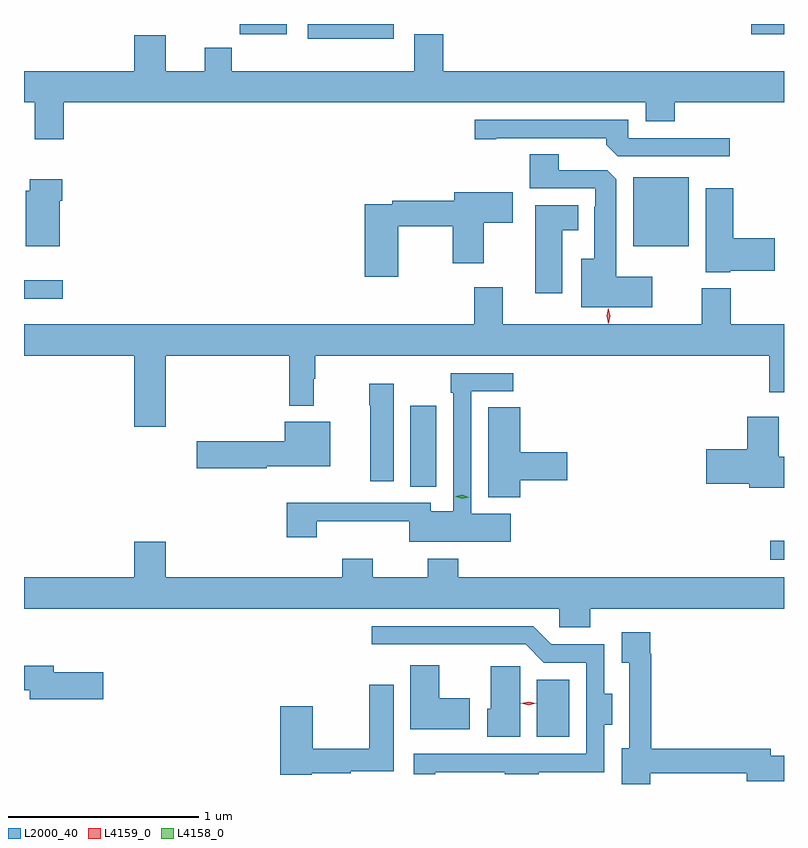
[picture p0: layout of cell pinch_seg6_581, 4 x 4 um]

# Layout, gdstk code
import gdstk
lib = gdstk.Library(unit=1e-6, precision=1e-09)
def R(c, l, rs):  # rectangles x0, y0, x1, y1
    for r in rs: c.add(gdstk.rectangle(r[:2], r[2:], *l))
def P(c, l, *ps):  # polygons
    for p in ps: c.add(gdstk.Polygon(p, *l))
L2000_40 = (2000, 40)
L4158_0 = (4158, 0)
L4159_0 = (4159, 0)

pinch_seg6_581 = lib.new_cell('pinch_seg6_581')
R(pinch_seg6_581, L2000_40, [(418.874,965.309,419.044,965.611), (420.102,966.24,420.175,966.341), (418.208,966.625,418.345,967.051), (416.175,967.616,416.38,967.713), (419.381,967.892,419.674,968.254), (417.669,968.984,418.12,969.061), (417.31,969.006,417.559,969.061), (420.003,969.008,420.175,969.061)])
P(pinch_seg6_581, L2000_40, [(416.384,968.648),(419.447,968.648),(419.447,968.549),(419.6,968.549),(419.6,968.648),(420.175,968.648),(420.175,968.812),(418.382,968.812),(418.382,969.007),(418.229,969.007),(418.229,968.812),(417.269,968.812),(417.269,968.936),(417.125,968.936),(417.125,968.812),(416.92,968.812),(416.92,969.001),(416.756,969.001),(416.756,968.812),(416.175,968.812),(416.175,968.648),(416.231,968.648),(416.231,968.454),(416.384,968.454)],
  [(419.89,968.46),(419.355,968.46),(419.355,968.556),(418.548,968.556),(418.548,968.455),(418.66,968.455),(418.66,968.46),(419.24,968.46),(419.24,968.426),(419.301,968.364),(419.89,968.364)],
  [(419.482,967.732),(419.293,967.732),(419.293,968.243),(419.244,968.292),(418.99,968.292),(418.99,968.375),(418.838,968.375),(418.838,968.196),(419.181,968.196),(419.181,968.099),(419.177,968.099),(419.177,967.825),(419.108,967.825),(419.108,967.571),(419.482,967.571)],
  [(416.362,968.132),(416.375,968.132),(416.375,968.245),(416.204,968.245),(416.204,968.184),(416.183,968.184),(416.183,967.892),(416.362,967.892)],
  [(419.892,967.763),(420.127,967.763),(420.127,967.934),(419.909,967.934),(419.909,968.197),(419.762,968.197),(419.762,967.754),(419.892,967.754)],
  [(418.146,967.996),(418.432,967.996),(418.432,967.803),(418.594,967.803),(418.594,968.014),(418.747,968.014),(418.747,968.176),(418.439,968.176),(418.439,968.132),(418.114,968.132),(418.114,968.112),(417.968,968.112),(417.968,967.731),(418.146,967.731)],
  [(419.008,967.976),(419.092,967.976),(419.092,968.107),(418.865,968.107),(418.865,967.644),(419.008,967.644)],
  [(416.92,967.316),(417.571,967.316),(417.571,967.053),(417.7,967.053),(417.7,967.193),(417.707,967.193),(417.707,967.316),(420.098,967.316),(420.098,967.122),(420.175,967.122),(420.175,967.48),(419.894,967.48),(419.894,967.669),(419.741,967.669),(419.741,967.48),(418.696,967.48),(418.696,967.675),(418.544,967.675),(418.544,967.48),(416.175,967.48),(416.175,967.316),(416.756,967.316),(416.756,966.942),(416.92,966.942)],
  [(418.738,966.484),(418.53,966.484),(418.53,967.128),(418.75,967.128),(418.75,967.224),(418.422,967.224),(418.422,967.121),(418.434,967.121),(418.434,966.496),(418.315,966.496),(418.315,966.54),(417.805,966.54),(417.805,966.542),(417.557,966.542),(417.557,966.36),(417.717,966.36),(417.717,966.443),(418.202,966.443),(418.202,966.335),(418.738,966.335)],
  [(418.12,967.168),(417.991,967.168),(417.991,967.055),(417.998,967.055),(417.998,966.654),(418.12,966.654)],
  [(418.786,966.659),(419.035,966.659),(419.035,966.806),(418.786,966.806),(418.786,967.043),(418.619,967.043),(418.619,966.569),(418.786,966.569)],
  [(420.175,966.783),(420.148,966.783),(420.148,966.994),(419.981,966.994),(419.981,966.824),(419.766,966.824),(419.766,966.641),(419.993,966.641),(419.993,966.62),(420.175,966.62)],
  [(417.452,966.734),(417.787,966.734),(417.787,966.967),(417.548,966.967),(417.548,966.864),(417.084,966.864),(417.084,966.722),(417.452,966.722)],
  [(419.156,965.984),(420.175,965.984),(420.175,966.148),(418.46,966.148),(418.46,966.247),(418.3,966.247),(418.3,966.148),(418.011,966.148),(418.011,966.247),(417.851,966.247),(417.851,966.148),(416.92,966.148),(416.92,966.337),(416.756,966.337),(416.756,966.148),(416.175,966.148),(416.175,965.984),(418.992,965.984),(418.992,965.886),(419.156,965.886)],
  [(418.339,965.123),(418.705,965.123),(418.705,965.112),(418.883,965.112),(418.883,965.123),(419.229,965.123),(419.229,965.372),(419.272,965.372),(419.272,965.536),(419.23,965.536),(419.23,965.796),(418.95,965.796),(418.854,965.892),(418.005,965.892),(418.005,965.796),(418.815,965.796),(418.911,965.7),(419.133,965.7),(419.133,965.22),(418.227,965.22),(418.227,965.112),(418.339,965.112)],
  [(419.471,965.118),(419.978,965.118),(419.978,965.075),(420.175,965.075),(420.175,965.21),(420.106,965.21),(420.106,965.246),(419.477,965.246),(419.477,965.747),(419.47,965.747),(419.47,965.86),(419.321,965.86),(419.321,965.699),(419.361,965.699),(419.361,965.248),(419.321,965.248),(419.321,965.061),(419.471,965.061)],
  [(418.522,965.512),(418.36,965.512),(418.36,965.686),(418.208,965.686),(418.208,965.348),(418.522,965.348)],
  [(416.593,965.649),(416.332,965.649),(416.332,965.683),(416.175,965.683),(416.175,965.554),(416.204,965.554),(416.204,965.507),(416.593,965.507)],
  [(418.786,965.68),(418.631,965.68),(418.631,965.457),(418.613,965.457),(418.613,965.309),(418.786,965.309)],
  [(417.69,965.118),(417.896,965.118),(417.896,965.129),(418.12,965.129),(418.12,965.584),(417.992,965.584),(417.992,965.246),(417.694,965.246),(417.694,965.47),(417.524,965.47),(417.524,965.11),(417.69,965.11)])
P(pinch_seg6_581, L4158_0, [(418.481,966.563),(418.447,966.574),(418.447,966.574),(418.447,966.575),(418.482,966.583),(418.516,966.571),(418.516,966.571),(418.516,966.571)])
P(pinch_seg6_581, L4159_0, [(419.251,967.485),(419.251,967.485),(419.241,967.525),(419.251,967.566),(419.251,967.566),(419.251,967.566),(419.261,967.525),(419.252,967.485)],
  [(418.831,965.475),(418.79,965.485),(418.79,965.486),(418.79,965.486),(418.831,965.495),(418.871,965.485),(418.871,965.485),(418.871,965.485)])

lib.write_gds('pinch_seg6_581.gds')
